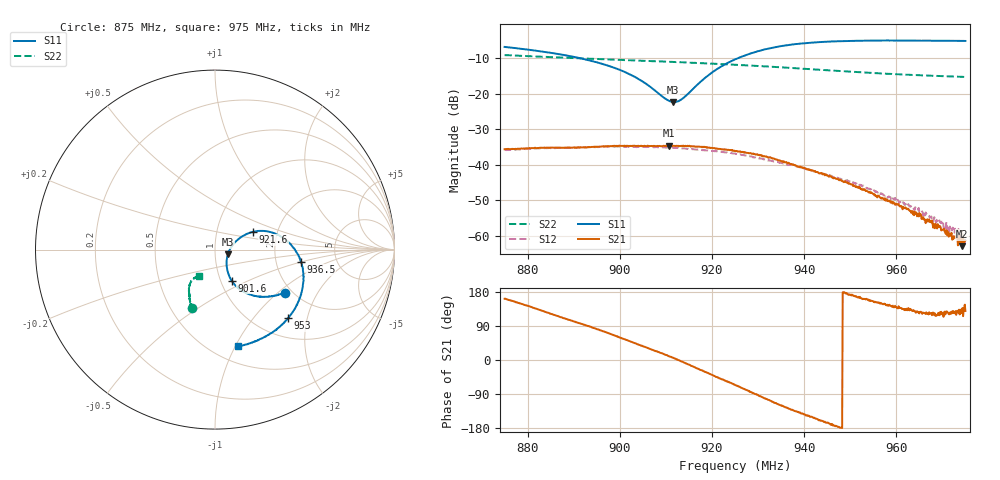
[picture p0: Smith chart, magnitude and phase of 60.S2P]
! C:\Users\rflab\Downloads\Lab5_KD_ZW\Q3\60.S2P
! Touchstone 1.1 file saved by VNA.EXE V1.65 (www.ke5fx.com/gpib/readme.htm)
! 11/18/2024 10:23:33 PM
!  Source: HEWLETT PACKARD,8753D,0,6.14
!  Min freq: 8.750000E+008 Hz
!  Max freq: 9.750200E+008 Hz
!  Points: 801
!  Params: S11 S21 S12 S22
# GHZ S MA R 50
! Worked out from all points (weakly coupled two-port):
!   801 points, 875 MHz to 975 MHz, reference 50 ohm
!   highest |S21| = -34.58 dB at 910.8 MHz (marker M1); lowest = -62.9 dB at 974.3 MHz (marker M2)
!   lowest |S11| = -22.4 dB at 911.6 MHz (marker M3), VSWR 1.16, Z = 57.6 - j3.06 ohm
!   |S11| at or under -10 dB: 891.4 MHz to 925.6 MHz (34.21 MHz wide, 3.77 % of centre)
!   |S22| runs from -15.3 to -9.1 dB; largest |S21 - S12| = 0.0031
!   S11 on the Smith chart (normalised r, x): 875 MHz: 1.84, -1.11; 901.6 MHz: 1.13, -0.40; 921.6 MHz: 1.50, +0.31; 936.5 MHz: 2.77, -0.50; 953 MHz: 1.39, -1.54; 975 MHz: 0.66, -1.02
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0.875  0.4564 -31.6  0.01659 161.7  0.01612 172.5  0.3496 -111.8
0.8917534  0.3129 -52.6  0.01764 95.3  0.01757 102.4  0.3147 -116.4
0.9016303  0.1953 -61.9  0.01857 52.1  0.01809 57.1  0.2969 -118.5
0.905131  0.1465 -60.4  0.01837 36.0  0.01787 41.2  0.291 -119.5
0.9083817  0.1013 -50.6  0.01839 21.3  0.01767 25.3  0.2855 -120.3
0.9107572  0.0793 -30.7  0.01866 9.6  0.01743 13.8  0.2816 -120.8
0.9116323  0.07613 -20.3  0.01855 5.8  0.01726 9.3  0.2803 -121.1
0.9136327  0.08574 3.8  0.01837 -4.6  0.01699 -0.3  0.2773 -121.6
0.9183837  0.1644 25.8  0.01796 -30.4  0.01595 -24.1  0.2689 -122.8
0.9216343  0.2337 25.0  0.01678 -48.7  0.01527 -40.2  0.2623 -123.5
0.92501  0.3045 19.6  0.01568 -65.7  0.01449 -57.8  0.2559 -124.4
0.9302611  0.4006 7.4  0.01384 -95.1  0.01229 -84.1  0.245 -125.5
0.9365123  0.4831 -8.3  0.01069 -126.9  0.01014 -113.0  0.2325 -126.4
0.9417633  0.5247 -20.5  0.008352 -150.3  0.008365 -138.7  0.2211 -126.7
0.9530156  0.5584 -43.1  0.004429 161.1  0.004973 174.0  0.1995 -126.2
0.9583917  0.5625 -52.3  0.00313 143.3  0.003608 155.1  0.1907 -125.3
0.964893  0.5594 -62.4  0.00188 126.8  0.00248 135.1  0.1827 -123.9
0.9660182  0.5581 -64.0  0.001698 124.6  0.002095 131.8  0.181 -123.5
0.9696439  0.5569 -69.3  0.001321 120.5  0.001555 130.3  0.1775 -122.7
0.9707691  0.5579 -70.9  0.001069 122.4  0.001342 125.9  0.1763 -122.5
0.9742698  0.5539 -75.7  0.000718 134.1  0.001083 127.8  0.1732 -121.6
0.97502  0.5535 -76.9  0.000862 129.3  0.001009 136.2  0.1726 -121.4
